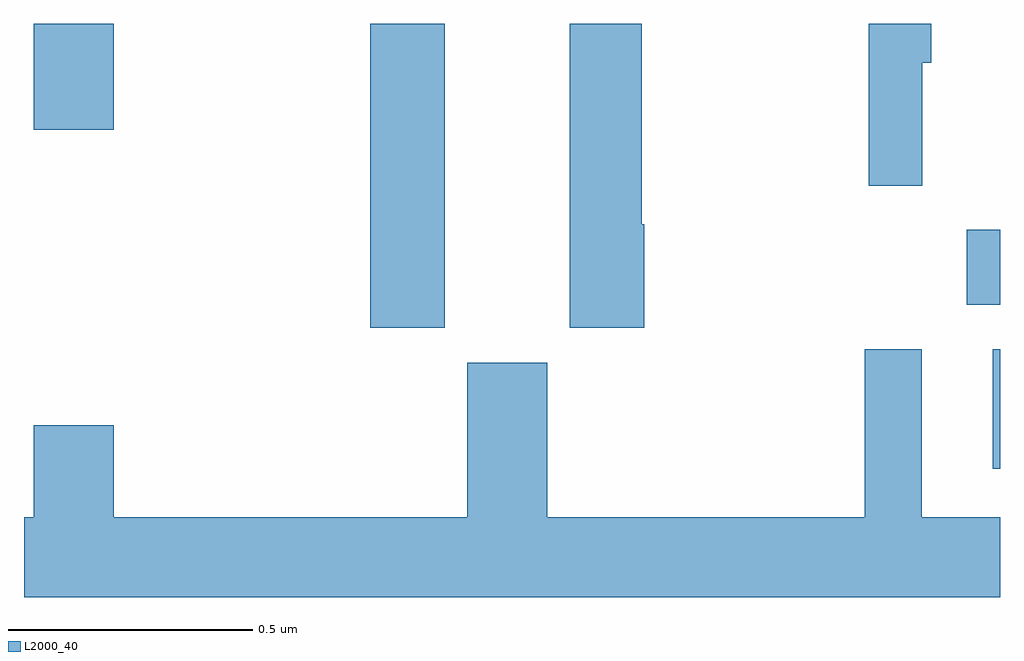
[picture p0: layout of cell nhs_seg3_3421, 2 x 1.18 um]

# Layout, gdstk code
import gdstk
lib = gdstk.Library(unit=1e-6, precision=1e-09)
def R(c, l, rs):  # rectangles x0, y0, x1, y1
    for r in rs: c.add(gdstk.rectangle(r[:2], r[2:], *l))
def P(c, l, *ps):  # polygons
    for p in ps: c.add(gdstk.Polygon(p, *l))
L2000_40 = (2000, 40)

nhs_seg3_3421 = lib.new_cell('nhs_seg3_3421')
R(nhs_seg3_3421, L2000_40, [(154.985,726.488,155,726.733), (153.71,726.777,153.862,727.4), (154.932,726.824,155,726.977), (153.02,727.182,153.184,727.4)])
P(nhs_seg3_3421, L2000_40, [(154.271,726.989),(154.266,726.989),(154.266,727.4),(154.118,727.4),(154.118,726.777),(154.271,726.777)],
  [(154.841,727.32),(154.859,727.32),(154.859,727.4),(154.731,727.4),(154.731,727.068),(154.841,727.068)],
  [(155,726.388),(154.84,726.388),(154.84,726.733),(154.723,726.733),(154.723,726.388),(154.072,726.388),(154.072,726.705),(153.908,726.705),(153.908,726.388),(153.184,726.388),(153.184,726.577),(153.02,726.577),(153.02,726.388),(153,726.388),(153,726.224),(155,726.224)])

lib.write_gds('nhs_seg3_3421.gds')
